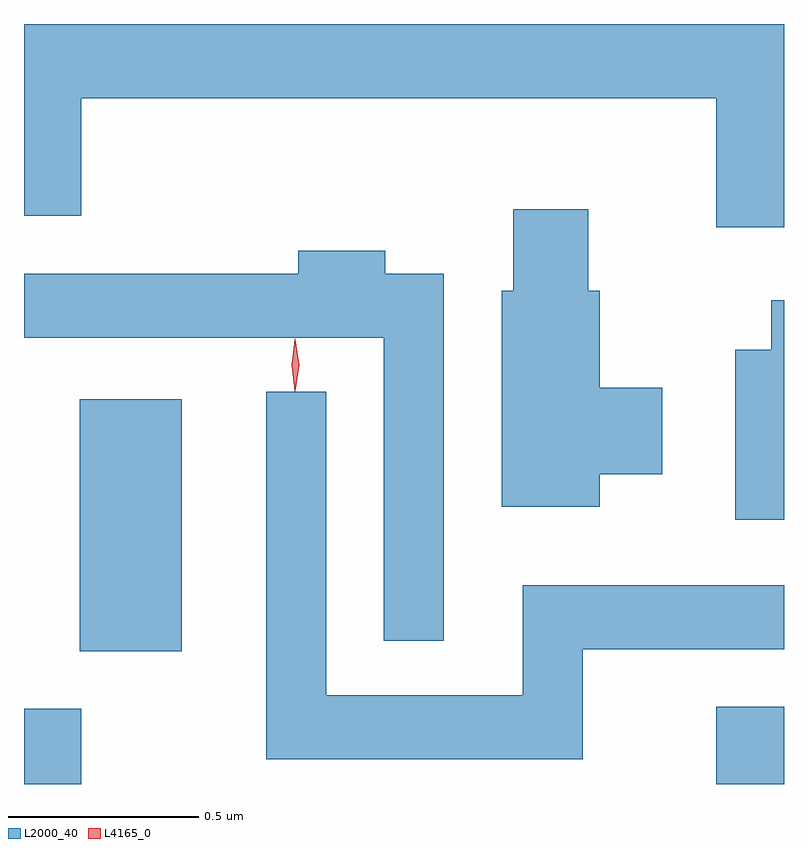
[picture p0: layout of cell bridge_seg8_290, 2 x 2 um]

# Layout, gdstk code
import gdstk
lib = gdstk.Library(unit=1e-6, precision=1e-09)
def R(c, l, rs):  # rectangles x0, y0, x1, y1
    for r in rs: c.add(gdstk.rectangle(r[:2], r[2:], *l))
def P(c, l, *ps):  # polygons
    for p in ps: c.add(gdstk.Polygon(p, *l))
L2000_40 = (2000, 40)
L4165_0 = (4165, 0)

bridge_seg8_290 = lib.new_cell('bridge_seg8_290')
R(bridge_seg8_290, L2000_40, [(1276.649,1812.411,1276.799,1812.609), (1278.471,1812.411,1278.649,1812.614), (1276.796,1812.761,1277.064,1813.424)])
P(bridge_seg8_290, L2000_40, [(1278.649,1814.411),(1276.649,1814.411),(1276.649,1813.906),(1276.799,1813.906),(1276.799,1814.216),(1278.471,1814.216),(1278.471,1813.876),(1278.649,1813.876)],
  [(1278.164,1813.226),(1278.329,1813.226),(1278.329,1813.454),(1278.164,1813.454),(1278.164,1813.709),(1278.134,1813.709),(1278.134,1813.924),(1277.936,1813.924),(1277.936,1813.709),(1277.906,1813.709),(1277.906,1813.141),(1278.164,1813.141)],
  [(1277.754,1813.754),(1277.599,1813.754),(1277.599,1813.814),(1277.371,1813.814),(1277.371,1813.754),(1276.649,1813.754),(1276.649,1813.586),(1277.596,1813.586),(1277.596,1812.788),(1277.754,1812.788)],
  [(1278.649,1813.684),(1278.616,1813.684),(1278.616,1813.554),(1278.521,1813.554),(1278.521,1813.106),(1278.649,1813.106)],
  [(1278.119,1812.766),(1278.649,1812.766),(1278.649,1812.934),(1277.961,1812.934),(1277.961,1812.644),(1277.444,1812.644),(1277.444,1813.443),(1277.286,1813.443),(1277.286,1812.476),(1278.119,1812.476)])
P(bridge_seg8_290, L4165_0, [(1277.362,1813.447),(1277.353,1813.514),(1277.362,1813.58),(1277.363,1813.58),(1277.363,1813.58),(1277.373,1813.514),(1277.363,1813.447),(1277.363,1813.447)],
  [(1277.363,1813.443),(1277.362,1813.444),(1277.353,1813.513),(1277.362,1813.582),(1277.363,1813.583),(1277.363,1813.582),(1277.373,1813.513),(1277.363,1813.444)])

lib.write_gds('bridge_seg8_290.gds')
